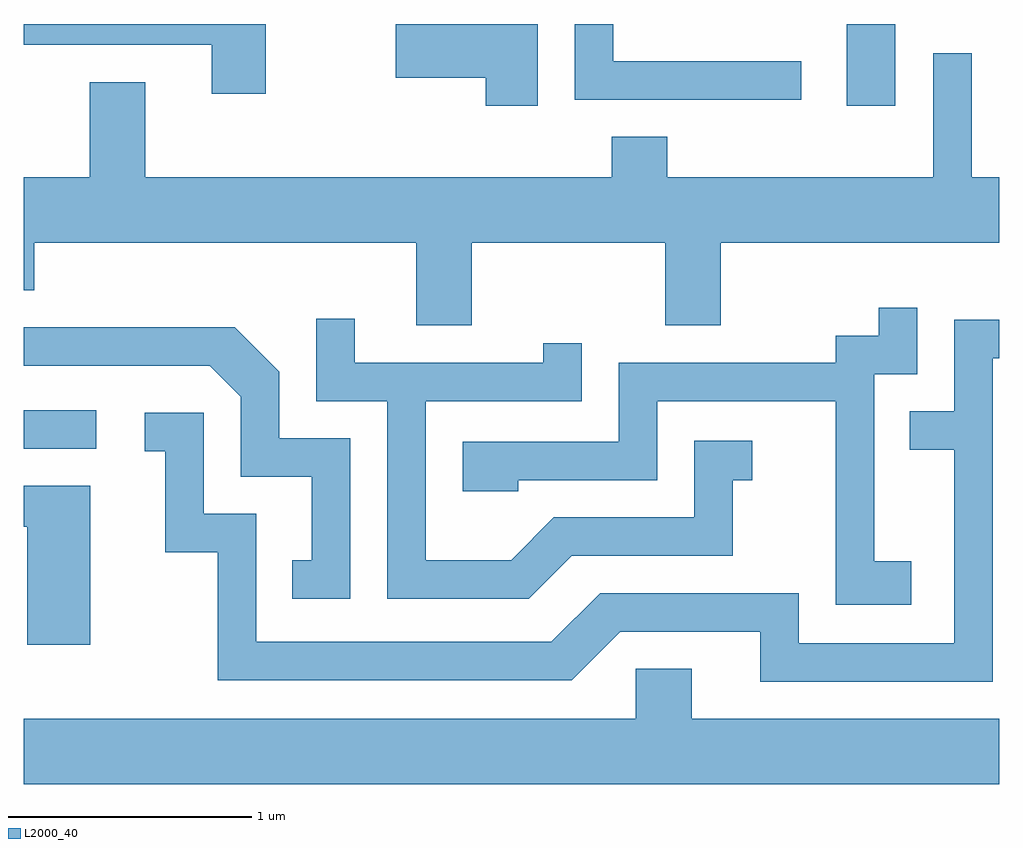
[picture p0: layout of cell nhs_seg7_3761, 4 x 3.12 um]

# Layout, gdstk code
import gdstk
lib = gdstk.Library(unit=1e-6, precision=1e-09)
def R(c, l, rs):  # rectangles x0, y0, x1, y1
    for r in rs: c.add(gdstk.rectangle(r[:2], r[2:], *l))
def P(c, l, *ps):  # polygons
    for p in ps: c.add(gdstk.Polygon(p, *l))
L2000_40 = (2000, 40)

nhs_seg7_3761 = lib.new_cell('nhs_seg7_3761')
R(nhs_seg7_3761, L2000_40, [(299.611,1784.511,299.908,1784.669), (302.986,1785.916,303.184,1786.252), (302.181,1786.251,302.509,1786.252)])
P(nhs_seg7_3761, L2000_40, [(300.604,1786.252),(299.611,1786.252),(299.611,1786.166),(300.381,1786.166),(300.381,1785.966),(300.604,1785.966)],
  [(301.719,1786.252),(301.136,1786.252),(301.136,1786.031),(301.506,1786.031),(301.506,1785.916),(301.719,1785.916)],
  [(302.798,1786.099),(302.029,1786.099),(302.029,1786.252),(301.871,1786.252),(301.871,1785.941),(302.798,1785.941)],
  [(301.449,1785.356),(302.241,1785.356),(302.241,1785.016),(302.469,1785.016),(302.469,1785.356),(303.611,1785.356),(303.611,1785.624),(303.499,1785.624),(303.499,1786.133),(303.341,1786.133),(303.341,1785.624),(302.249,1785.624),(302.249,1785.789),(302.021,1785.789),(302.021,1785.624),(300.109,1785.624),(300.109,1786.014),(299.881,1786.014),(299.881,1785.624),(299.611,1785.624),(299.611,1785.161),(299.654,1785.161),(299.654,1785.356),(301.221,1785.356),(301.221,1785.016),(301.449,1785.016)],
  [(303.249,1784.049),(303.099,1784.049),(303.099,1784.816),(303.274,1784.816),(303.274,1785.088),(303.116,1785.088),(303.116,1784.974),(302.941,1784.974),(302.941,1784.864),(302.051,1784.864),(302.051,1784.539),(301.411,1784.539),(301.411,1784.336),(301.639,1784.336),(301.639,1784.381),(302.209,1784.381),(302.209,1784.706),(302.941,1784.706),(302.941,1783.871),(303.249,1783.871)],
  [(301.857,1784.071),(302.519,1784.071),(302.519,1784.381),(302.598,1784.381),(302.598,1784.544),(302.361,1784.544),(302.361,1784.229),(301.784,1784.229),(301.609,1784.054),(301.259,1784.054),(301.259,1784.706),(301.899,1784.706),(301.899,1784.943),(301.741,1784.943),(301.741,1784.864),(300.969,1784.864),(300.969,1785.043),(300.811,1785.043),(300.811,1784.706),(301.101,1784.706),(301.101,1783.896),(301.682,1783.896)],
  [(303.584,1784.881),(303.611,1784.881),(303.611,1785.039),(303.426,1785.039),(303.426,1784.664),(303.243,1784.664),(303.243,1784.506),(303.426,1784.506),(303.426,1783.714),(302.789,1783.714),(302.789,1783.919),(301.974,1783.919),(301.774,1783.719),(300.564,1783.719),(300.564,1784.244),(300.349,1784.244),(300.349,1784.659),(300.108,1784.659),(300.108,1784.501),(300.191,1784.501),(300.191,1784.086),(300.406,1784.086),(300.406,1783.561),(301.857,1783.561),(302.057,1783.761),(302.631,1783.761),(302.631,1783.556),(303.584,1783.556)],
  [(300.949,1784.554),(300.659,1784.554),(300.659,1784.827),(300.477,1785.009),(299.611,1785.009),(299.611,1784.851),(300.374,1784.851),(300.501,1784.724),(300.501,1784.396),(300.791,1784.396),(300.791,1784.054),(300.713,1784.054),(300.713,1783.896),(300.949,1783.896)],
  [(299.884,1784.359),(299.611,1784.359),(299.611,1784.191),(299.626,1784.191),(299.626,1783.706),(299.884,1783.706)],
  [(303.611,1783.404),(302.349,1783.404),(302.349,1783.609),(302.121,1783.609),(302.121,1783.404),(299.611,1783.404),(299.611,1783.136),(303.611,1783.136)])

lib.write_gds('nhs_seg7_3761.gds')
